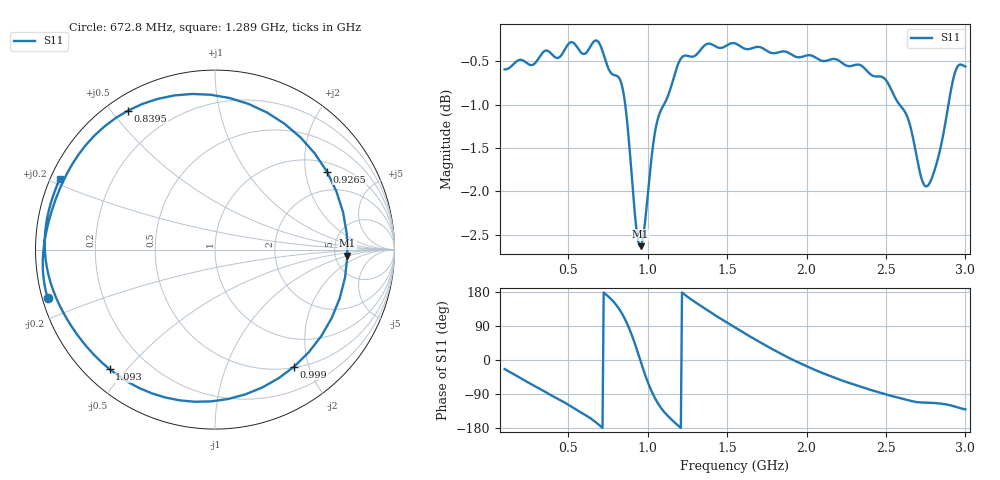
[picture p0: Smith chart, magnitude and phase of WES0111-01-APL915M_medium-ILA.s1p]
! openEMS-z2labs kicad_sim, WES0111-01-APL915M_medium-ILA.kicad_pcb
! ports: 1=SMA1 (F.Cu over B.Cu)
! stackup: file
! copper: sheet, mask: False
# Hz S RI R 50
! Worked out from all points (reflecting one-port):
!   401 points, 100 MHz to 3 GHz, reference 50 ohm
!   lowest |S11| = -2.6 dB at 955.5 MHz (marker M1), VSWR 6.65, Z = 325 - j48.8 ohm
!   phase of S11 starts at -24 deg and turns -826 deg over the sweep
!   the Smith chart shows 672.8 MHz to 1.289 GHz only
!   S11 on the Smith chart (normalised r, x): 672.8 MHz: 0.02, -0.14; 839.5 MHz: 0.06, +0.55; 926.5 MHz: 1.28, +2.63; 999 MHz: 0.52, -1.77; 1.093 GHz: 0.07, -0.45; 1.289 GHz: 0.03, +0.22
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1e8  0.8534 -0.38
2.16e8  0.5855 -0.7422
3.1025e8  0.2745 -0.9062
4.625e8  -0.3059 -0.9031
5.495e8  -0.6293 -0.7306
6.7275e8  -0.933 -0.2684
7.5975e8  -0.8999 0.2452
8.25e8  -0.6173 0.6851
8.395e8  -0.4842 0.7747
8.83e8  0.0828 0.8441
9.265e8  0.6232 0.4348
9.555e8  0.7378 -0.0341
9.99e8  0.4416 -0.6514
1.0425e9  -0.1113 -0.8477
1.09325e9  -0.5875 -0.6662
1.1875e9  -0.9279 -0.1408
1.289e9  -0.8653 0.393
1.41225e9  -0.5014 0.8244
1.55e9  0.0735 0.9643
1.64425e9  0.4481 0.8491
1.7385e9  0.7433 0.6061
1.9125e9  0.9519 0.0131
2.0865e9  0.8017 -0.5015
2.275e9  0.4489 -0.824
2.47075e9  0.0478 -0.924
2.6375e9  -0.2389 -0.8425
2.84775e9  -0.3612 -0.764
3e9  -0.6068 -0.7151
